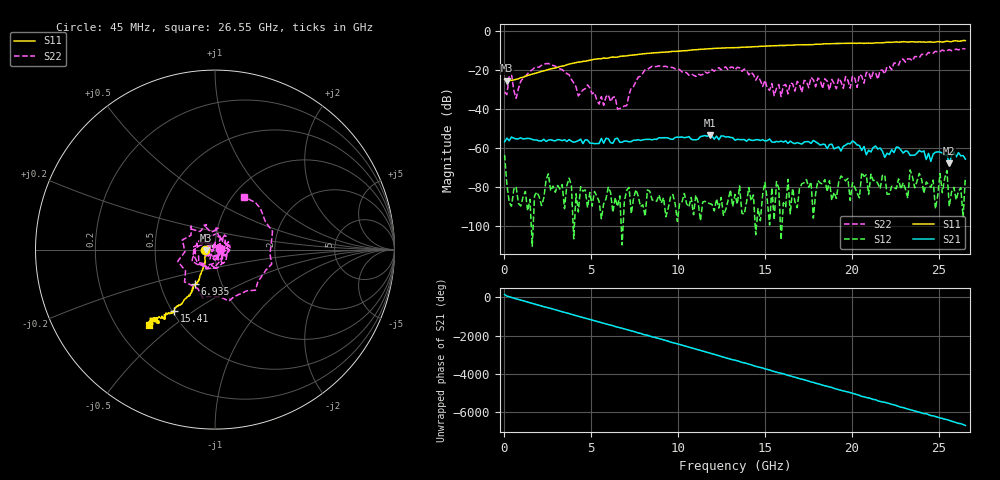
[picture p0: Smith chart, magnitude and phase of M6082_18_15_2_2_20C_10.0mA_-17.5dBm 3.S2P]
!  2-Port S-parameters saved by WinCal
! VAR MeasName=S-Parameters (CALIBRATED_DATA) read from VNA (C)
! VAR MeasDate=9/29/2015 3:36:49 PM
! VAR NAME=M6082_18_15_2_2_20C_10.0mA_-17.5dBm 3
! VAR FILENAME=M6082_18_15_2_2_20C_10.0mA_-17.5dBm 3.S2P
! VAR DATE=9/29/2015 3:36:49 PM
! VAR PHYS_PORTS=2,1
! VAR ObjTypeName=DATASET
! VAR IndexType=Frequency
# Hz S RI R 50
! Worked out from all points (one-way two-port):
!   201 points, 45 MHz to 26.55 GHz, reference 50 ohm
!   highest |S21| = -53.52 dB at 11.84 GHz (marker M1); lowest = -67.9 dB at 25.62 GHz (marker M2)
!   lowest |S11| = -25.6 dB at 177.5 MHz (marker M3), VSWR 1.11, Z = 45 - j0.38 ohm
!   |S11| at or under -10 dB: start of sweep to 10.73 GHz
!   |S22| runs from -40.2 to -9.2 dB; largest |S21 - S12| = 0.0021
!   S11 on the Smith chart (normalised r, x): 45 MHz: 0.89, -0.00; 6.935 GHz: 0.75, -0.30; 15.41 GHz: 0.51, -0.42; 26.55 GHz: 0.34, -0.41
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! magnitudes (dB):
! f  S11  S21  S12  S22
! 45 MHz  -24.9  -56.9  -63.6  -31.4
! 177.5 MHz  -25.6  -55.0  -78.9  -32.8
! 442.5 MHz  -25.4  -54.5  -89.9  -22.4
! 707.5 MHz  -24.9  -55.4  -79.9  -34.6
! 2.562 GHz  -19.9  -56.0  -73.3  -16.8
! 4.55 GHz  -15.8  -57.8  -82.2  -30.3
! 6.935 GHz  -13.0  -56.5  -87.1  -38.6
! 8.922 GHz  -11.2  -54.8  -84.1  -18.0
! 11.84 GHz  -9.2  -53.5  -88.5  -21.1
! 13.29 GHz  -8.7  -56.1  -83.8  -20.1
! 15.41 GHz  -7.7  -57.0  -80.5  -27.1
! 17.8 GHz  -7.1  -56.2  -95.9  -25.1
! 20.32 GHz  -6.5  -58.5  -83.0  -29.0
! 20.58 GHz  -6.4  -61.3  -72.6  -23.2
! 22.17 GHz  -6.0  -63.5  -83.7  -18.4
! 23.23 GHz  -5.9  -61.8  -85.8  -14.4
! 23.36 GHz  -5.7  -63.9  -71.3  -14.5
! 23.63 GHz  -5.8  -63.7  -80.5  -13.3
! 25.22 GHz  -5.9  -62.7  -82.9  -9.9
! 25.48 GHz  -5.4  -63.6  -71.7  -10.3
! 25.62 GHz  -5.6  -67.9  -90.0  -9.7
! 26.55 GHz  -5.1  -65.8  -75.0  -9.5
